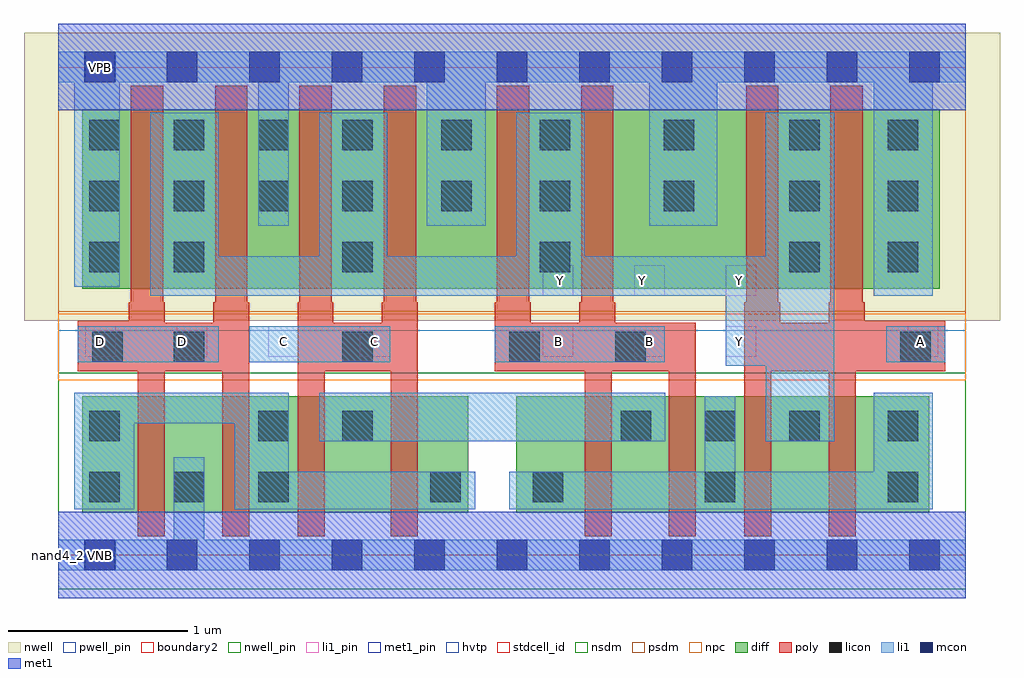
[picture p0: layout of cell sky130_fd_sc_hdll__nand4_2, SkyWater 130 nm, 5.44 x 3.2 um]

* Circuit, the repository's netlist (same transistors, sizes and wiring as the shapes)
* Copyright 2020 The SkyWater PDK Authors
*
* Licensed under the Apache License, Version 2.0 (the "License");
* you may not use this file except in compliance with the License.
* You may obtain a copy of the License at
*
*     https://www.apache.org/licenses/LICENSE-2.0
*
* Unless required by applicable law or agreed to in writing, software
* distributed under the License is distributed on an "AS IS" BASIS,
* WITHOUT WARRANTIES OR CONDITIONS OF ANY KIND, either express or implied.
* See the License for the specific language governing permissions and
* limitations under the License.
*
* SPDX-License-Identifier: Apache-2.0

.SUBCKT sky130_fd_sc_hdll__nand4_2 A B C D VGND VNB VPB VPWR Y
*.PININFO A:I B:I C:I D:I VGND:I VNB:I VPB:I VPWR:I Y:O
MMP0 Y A VPWR VPB sky130_fd_pr__pfet_01v8_hvt m=2 w=1.0U l=0.18U mult=1 sa=0.265
+ sb=0.265 sd=0.28 area=0.063 perim=1.14
MMP1 Y B VPWR VPB sky130_fd_pr__pfet_01v8_hvt m=2 w=1.0U l=0.18U mult=1 sa=0.265
+ sb=0.265 sd=0.28 area=0.063 perim=1.14
MMP3 Y D VPWR VPB sky130_fd_pr__pfet_01v8_hvt m=2 w=1.0U l=0.18U mult=1 sa=0.265
+ sb=0.265 sd=0.28 area=0.063 perim=1.14
MMP2 Y C VPWR VPB sky130_fd_pr__pfet_01v8_hvt m=2 w=1.0U l=0.18U mult=1 sa=0.265
+ sb=0.265 sd=0.28 area=0.063 perim=1.14
MMN0 Y A sndA VNB sky130_fd_pr__nfet_01v8 m=2 w=0.65U l=0.15U mult=1 sa=0.265 sb=0.265
+ sd=0.28 area=0.063 perim=1.14
MMN1 sndA B sndB VNB sky130_fd_pr__nfet_01v8 m=2 w=0.65U l=0.15U mult=1 sa=0.265
+ sb=0.265 sd=0.28 area=0.063 perim=1.14
MMN2 sndB C sndC VNB sky130_fd_pr__nfet_01v8 m=2 w=0.65U l=0.15U mult=1 sa=0.265
+ sb=0.265 sd=0.28 area=0.063 perim=1.14
MMN3 sndC D VGND VNB sky130_fd_pr__nfet_01v8 m=2 w=0.65U l=0.15U mult=1 sa=0.265
+ sb=0.265 sd=0.28 area=0.063 perim=1.14
.ENDS sky130_fd_sc_hdll__nand4_2

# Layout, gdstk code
import gdstk
lib = gdstk.Library(unit=1e-6, precision=1e-09)
def R(c, l, rs):  # rectangles x0, y0, x1, y1
    for r in rs: c.add(gdstk.rectangle(r[:2], r[2:], *l))
def A(c, l, x, y, w, h, nx, ny, dx, dy):  # array of equal rectangles
    R(c, l, [(x+i*dx, y+j*dy, x+i*dx+w, y+j*dy+h) for i in range(nx) for j in range(ny)])
def P(c, l, *ps):  # polygons
    for p in ps: c.add(gdstk.Polygon(p, *l))
nwell_pin = (64, 16)
nwell = (64, 20)
diff = (65, 20)
poly = (66, 20)
licon = (66, 44)
li1_pin = (67, 16)
li1 = (67, 20)
mcon = (67, 44)
met1_pin = (68, 16)
met1 = (68, 20)
hvtp = (78, 44)
stdcell_id = (81, 4)
nsdm = (93, 44)
psdm = (94, 20)
npc = (95, 20)
pwell_pin = (122, 16)
boundary2 = (236, 0)

sky130_fd_sc_hdll__nand4 = lib.new_cell('sky130_fd_sc_hdll__nand4_2')
R(sky130_fd_sc_hdll__nand4, nwell_pin, [(0.15,2.635,0.32,2.805)])
R(sky130_fd_sc_hdll__nand4, nwell, [(-0.19,1.305,5.25,2.91)])
R(sky130_fd_sc_hdll__nand4, diff, [(0.135,0.235,2.285,0.885), (2.555,0.235,4.855,0.885), (0.135,1.485,4.915,2.485)])
P(sky130_fd_sc_hdll__nand4, poly, [(1.065,1.41),(1.055,1.41),(1.055,2.615),(0.875,2.615),(0.875,1.41),(0.865,1.41),(0.865,1.295),(0.595,1.295),(0.595,1.41),(0.585,1.41),(0.585,2.615),(0.405,2.615),(0.405,1.41),(0.395,1.41),(0.395,1.305),(0.11,1.305),(0.11,1.025),(0.445,1.025),(0.445,0.105),(0.595,0.105),(0.595,1.025),(0.915,1.025),(0.915,0.105),(1.065,0.105)],
  [(2.005,1.41),(1.995,1.41),(1.995,2.615),(1.815,2.615),(1.815,1.41),(1.805,1.41),(1.805,1.295),(1.535,1.295),(1.535,1.41),(1.525,1.41),(1.525,2.615),(1.345,2.615),(1.345,1.41),(1.335,1.41),(1.335,0.105),(1.485,0.105),(1.485,1.025),(1.855,1.025),(1.855,0.105),(2.005,0.105)],
  [(3.555,1.295),(3.105,1.295),(3.105,1.41),(3.095,1.41),(3.095,2.615),(2.915,2.615),(2.915,1.41),(2.905,1.41),(2.905,1.295),(2.635,1.295),(2.635,1.41),(2.625,1.41),(2.625,2.615),(2.445,2.615),(2.445,1.41),(2.435,1.41),(2.435,1.025),(2.935,1.025),(2.935,0.105),(3.085,0.105),(3.085,1.025),(3.405,1.025),(3.405,0.105),(3.555,0.105)],
  [(4.945,1.305),(4.495,1.305),(4.495,1.41),(4.485,1.41),(4.485,2.615),(4.305,2.615),(4.305,1.41),(4.295,1.41),(4.295,1.295),(4.025,1.295),(4.025,1.41),(4.015,1.41),(4.015,2.615),(3.835,2.615),(3.835,1.41),(3.825,1.41),(3.825,0.105),(3.975,0.105),(3.975,1.025),(4.295,1.025),(4.295,0.105),(4.445,0.105),(4.445,1.025),(4.945,1.025)])
A(sky130_fd_sc_hdll__nand4, licon, 0.175, 0.295, 0.17, 0.17, 3, 1, 0.47, 0)
A(sky130_fd_sc_hdll__nand4, licon, 3.135, 0.635, 0.17, 0.17, 3, 1, 0.47, 0)
A(sky130_fd_sc_hdll__nand4, licon, 2.685, 1.575, 0.17, 0.17, 1, 3, 0, 0.34)
A(sky130_fd_sc_hdll__nand4, licon, 4.075, 1.575, 0.17, 0.17, 1, 3, 0, 0.34)
A(sky130_fd_sc_hdll__nand4, licon, 4.625, 1.575, 0.17, 0.17, 1, 3, 0, 0.34)
A(sky130_fd_sc_hdll__nand4, licon, 0.175, 1.915, 0.17, 0.17, 4, 2, 0.47, 0.34)
R(sky130_fd_sc_hdll__nand4, licon, [(2.075,0.295,2.245,0.465), (2.645,0.295,2.815,0.465), (3.605,0.295,3.775,0.465), (4.625,0.295,4.795,0.465), (0.175,0.635,0.345,0.805), (1.115,0.635,1.285,0.805), (1.585,0.635,1.755,0.805), (4.625,0.635,4.795,0.805), (0.19,1.075,0.36,1.245), (0.645,1.075,0.815,1.245), (1.585,1.075,1.755,1.245), (2.515,1.075,2.685,1.245), (3.105,1.075,3.275,1.245), (4.695,1.075,4.865,1.245), (0.175,1.575,0.345,1.745), (0.645,1.575,0.815,1.745), (1.585,1.575,1.755,1.745), (2.135,1.915,2.305,2.085), (3.375,1.915,3.545,2.085), (2.135,2.255,2.305,2.425), (3.375,2.255,3.545,2.425)])
A(sky130_fd_sc_hdll__nand4, li1_pin, 0.15, 1.105, 0.17, 0.17, 4, 1, 0.51, 0)
A(sky130_fd_sc_hdll__nand4, li1_pin, 2.7, 1.105, 0.17, 0.17, 3, 2, 0.51, 0.34)
R(sky130_fd_sc_hdll__nand4, li1_pin, [(4.735,1.105,4.905,1.275)])
R(sky130_fd_sc_hdll__nand4, li1, [(1.455,0.635,3.385,0.905), (0.11,1.075,0.895,1.275), (1.065,1.075,1.85,1.275), (2.435,1.075,3.38,1.275), (4.615,1.075,4.945,1.275)])
P(sky130_fd_sc_hdll__nand4, li1, [(5.06,0.085),(0.815,0.085),(0.815,0.545),(0.645,0.545),(0.645,0.085),(0,0.085),(0,-0.085),(5.06,-0.085)],
  [(5.06,2.805),(0,2.805),(0,2.635),(0.09,2.635),(0.09,1.495),(0.345,1.495),(0.345,2.635),(1.115,2.635),(1.115,1.835),(1.285,1.835),(1.285,2.635),(2.055,2.635),(2.055,1.835),(2.385,1.835),(2.385,2.635),(3.295,2.635),(3.295,1.835),(3.675,1.835),(3.675,2.635),(4.545,2.635),(4.545,1.445),(4.875,1.445),(4.875,2.635),(5.06,2.635)],
  [(4.875,0.905),(4.545,0.905),(4.545,0.465),(3.775,0.465),(3.775,0.885),(3.605,0.885),(3.605,0.465),(2.515,0.465),(2.515,0.255),(4.875,0.255)],
  [(4.325,2.465),(3.945,2.465),(3.945,1.665),(2.935,1.665),(2.935,2.465),(2.555,2.465),(2.555,1.665),(1.835,1.665),(1.835,2.465),(1.455,2.465),(1.455,1.665),(0.895,1.665),(0.895,2.465),(0.515,2.465),(0.515,1.445),(3.72,1.445),(3.72,1.055),(3.945,1.055),(3.945,0.635),(4.325,0.635)],
  [(2.325,0.465),(1.285,0.465),(1.285,0.905),(0.09,0.905),(0.09,0.255),(0.425,0.255),(0.425,0.735),(0.985,0.735),(0.985,0.255),(2.325,0.255)])
A(sky130_fd_sc_hdll__nand4, mcon, 0.145, -0.085, 0.17, 0.17, 11, 2, 0.46, 2.72)
R(sky130_fd_sc_hdll__nand4, met1_pin, [(0.15,-0.085,0.32,0.085), (0.15,2.635,0.32,2.805)])
R(sky130_fd_sc_hdll__nand4, met1, [(0,-0.24,5.06,0.24), (0,2.48,5.06,2.96)])
R(sky130_fd_sc_hdll__nand4, hvtp, [(0,1.25,5.06,2.72)])
R(sky130_fd_sc_hdll__nand4, stdcell_id, [(0,0,5.06,2.72)])
R(sky130_fd_sc_hdll__nand4, nsdm, [(0,-0.19,5.06,1.015)])
R(sky130_fd_sc_hdll__nand4, psdm, [(0,1.355,5.06,2.91)])
R(sky130_fd_sc_hdll__nand4, npc, [(0,0.975,5.06,1.345)])
R(sky130_fd_sc_hdll__nand4, pwell_pin, [(0.15,-0.085,0.32,0.085)])
R(sky130_fd_sc_hdll__nand4, boundary2, [(0,0,5.06,2.72)])
sky130_fd_sc_hdll__nand4.add(gdstk.Label('B', (3.295,1.19), layer=67, texttype=5))
sky130_fd_sc_hdll__nand4.add(gdstk.Label('B', (2.79,1.19), layer=67, texttype=5))
sky130_fd_sc_hdll__nand4.add(gdstk.Label('A', (4.805,1.19), layer=67, texttype=5))
sky130_fd_sc_hdll__nand4.add(gdstk.Label('Y', (2.8,1.53), layer=67, texttype=5))
sky130_fd_sc_hdll__nand4.add(gdstk.Label('Y', (3.26,1.53), layer=67, texttype=5))
sky130_fd_sc_hdll__nand4.add(gdstk.Label('Y', (3.8,1.19), layer=67, texttype=5))
sky130_fd_sc_hdll__nand4.add(gdstk.Label('Y', (3.8,1.53), layer=67, texttype=5))
sky130_fd_sc_hdll__nand4.add(gdstk.Label('D', (0.695,1.19), layer=67, texttype=5))
sky130_fd_sc_hdll__nand4.add(gdstk.Label('D', (0.235,1.19), layer=67, texttype=5))
sky130_fd_sc_hdll__nand4.add(gdstk.Label('C', (1.765,1.19), layer=67, texttype=5))
sky130_fd_sc_hdll__nand4.add(gdstk.Label('C', (1.255,1.19), layer=67, texttype=5))
sky130_fd_sc_hdll__nand4.add(gdstk.Label('VNB', (0.235,0), layer=64, texttype=59))
sky130_fd_sc_hdll__nand4.add(gdstk.Label('VPB', (0.235,2.72), layer=64, texttype=5))
sky130_fd_sc_hdll__nand4.add(gdstk.Label('VGND', (0.235,0), layer=68, texttype=5))
sky130_fd_sc_hdll__nand4.add(gdstk.Label('VPWR', (0.235,2.72), layer=68, texttype=5))
sky130_fd_sc_hdll__nand4.add(gdstk.Label('nand4_2', (0,0), layer=83, texttype=44))

lib.write_gds('sky130_fd_sc_hdll__nand4_2.gds')
